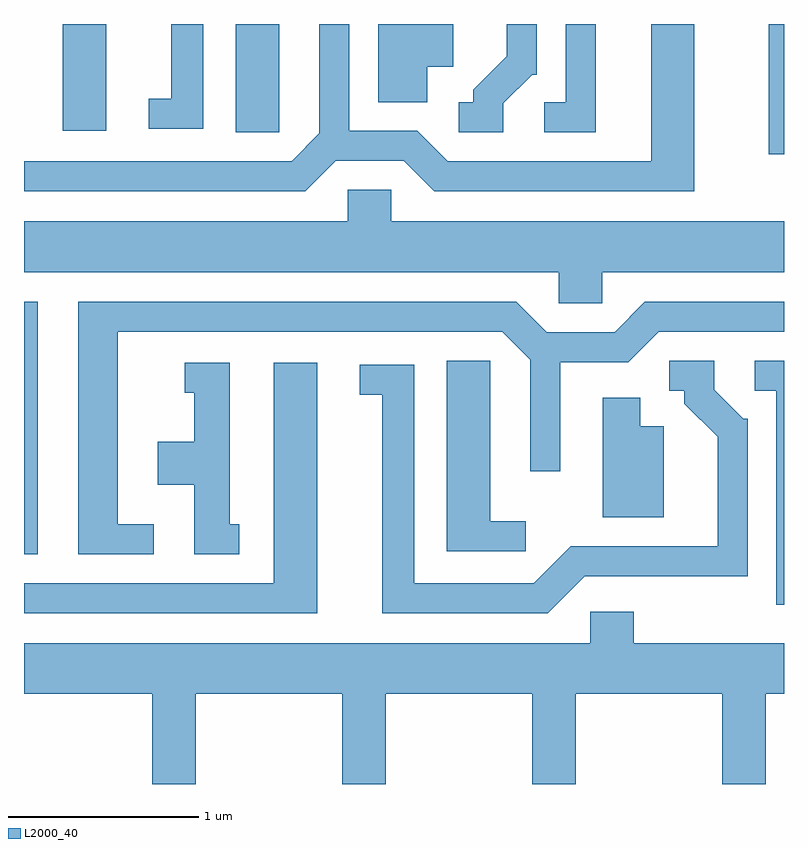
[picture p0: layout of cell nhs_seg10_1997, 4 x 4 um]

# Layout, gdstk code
import gdstk
lib = gdstk.Library(unit=1e-6, precision=1e-09)
def R(c, l, rs):  # rectangles x0, y0, x1, y1
    for r in rs: c.add(gdstk.rectangle(r[:2], r[2:], *l))
def P(c, l, *ps):  # polygons
    for p in ps: c.add(gdstk.Polygon(p, *l))
L2000_40 = (2000, 40)

nhs_seg10_1997 = lib.new_cell('nhs_seg10_1997')
R(nhs_seg10_1997, L2000_40, [(243.611,2145.731,243.684,2147.059), (247.531,2147.836,247.611,2148.522), (244.726,2147.951,244.954,2148.522), (243.816,2147.961,244.044,2148.522)])
P(nhs_seg10_1997, L2000_40, [(245.252,2147.801),(245.609,2147.801),(245.769,2147.641),(247.139,2147.641),(247.139,2148.522),(246.911,2148.522),(246.911,2147.799),(245.842,2147.799),(245.682,2147.959),(245.324,2147.959),(245.324,2148.522),(245.166,2148.522),(245.166,2147.947),(245.019,2147.799),(243.611,2147.799),(243.611,2147.641),(245.092,2147.641)],
  [(246.619,2148.522),(246.461,2148.522),(246.461,2148.109),(246.348,2148.109),(246.348,2147.951),(246.619,2147.951)],
  [(245.734,2148.296),(245.869,2148.296),(245.869,2148.522),(245.476,2148.522),(245.476,2148.111),(245.734,2148.111)],
  [(246.134,2148.104),(246.287,2148.256),(246.309,2148.256),(246.309,2148.522),(246.151,2148.522),(246.151,2148.352),(245.976,2148.177),(245.976,2148.109),(245.898,2148.109),(245.898,2147.951),(246.134,2147.951)],
  [(244.554,2148.522),(244.386,2148.522),(244.386,2148.129),(244.268,2148.129),(244.268,2147.971),(244.554,2147.971)],
  [(246.654,2147.216),(247.611,2147.216),(247.611,2147.484),(245.544,2147.484),(245.544,2147.649),(245.316,2147.649),(245.316,2147.484),(243.611,2147.484),(243.611,2147.216),(246.426,2147.216),(246.426,2147.051),(246.654,2147.051)],
  [(244.293,2145.889),(244.104,2145.889),(244.104,2146.901),(246.129,2146.901),(246.276,2146.754),(246.276,2146.168),(246.434,2146.168),(246.434,2146.741),(246.792,2146.741),(246.952,2146.901),(247.611,2146.901),(247.611,2147.059),(246.879,2147.059),(246.719,2146.899),(246.362,2146.899),(246.202,2147.059),(243.896,2147.059),(243.896,2145.731),(244.293,2145.731)],
  [(246.562,2145.616),(247.419,2145.616),(247.419,2146.444),(247.397,2146.444),(247.244,2146.597),(247.244,2146.749),(247.008,2146.749),(247.008,2146.591),(247.086,2146.591),(247.086,2146.524),(247.261,2146.349),(247.261,2145.774),(246.489,2145.774),(246.294,2145.579),(245.664,2145.579),(245.664,2146.729),(245.378,2146.729),(245.378,2146.571),(245.496,2146.571),(245.496,2145.421),(246.367,2145.421)],
  [(247.611,2146.749),(247.458,2146.749),(247.458,2146.591),(247.571,2146.591),(247.571,2145.466),(247.611,2145.466)],
  [(246.253,2145.904),(246.064,2145.904),(246.064,2146.749),(245.836,2146.749),(245.836,2145.746),(246.253,2145.746)],
  [(245.154,2146.739),(244.926,2146.739),(244.926,2145.579),(243.611,2145.579),(243.611,2145.421),(245.154,2145.421)],
  [(244.743,2145.889),(244.694,2145.889),(244.694,2146.739),(244.458,2146.739),(244.458,2146.581),(244.506,2146.581),(244.506,2146.324),(244.316,2146.324),(244.316,2146.096),(244.506,2146.096),(244.506,2145.731),(244.743,2145.731)],
  [(246.979,2146.404),(246.854,2146.404),(246.854,2146.554),(246.656,2146.554),(246.656,2145.926),(246.979,2145.926)],
  [(247.286,2144.522),(247.514,2144.522),(247.514,2144.996),(247.611,2144.996),(247.611,2145.264),(246.819,2145.264),(246.819,2145.429),(246.591,2145.429),(246.591,2145.264),(243.611,2145.264),(243.611,2144.996),(244.286,2144.996),(244.286,2144.522),(244.514,2144.522),(244.514,2144.996),(245.286,2144.996),(245.286,2144.522),(245.514,2144.522),(245.514,2144.996),(246.286,2144.996),(246.286,2144.522),(246.514,2144.522),(246.514,2144.996),(247.286,2144.996)])

lib.write_gds('nhs_seg10_1997.gds')
